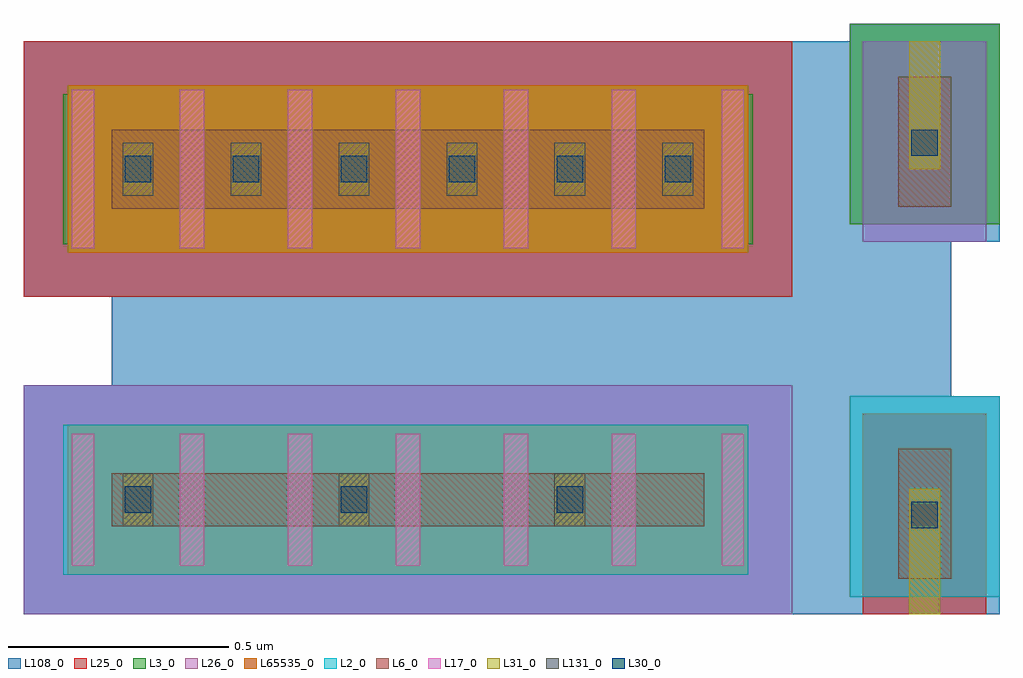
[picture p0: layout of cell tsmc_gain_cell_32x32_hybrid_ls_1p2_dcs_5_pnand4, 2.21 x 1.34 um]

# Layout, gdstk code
import gdstk
lib = gdstk.Library(unit=1e-6, precision=1e-09)
def R(c, l, rs):  # rectangles x0, y0, x1, y1
    for r in rs: c.add(gdstk.rectangle(r[:2], r[2:], *l))
def A(c, l, x, y, w, h, nx, ny, dx, dy):  # array of equal rectangles
    R(c, l, [(x+i*dx, y+j*dy, x+i*dx+w, y+j*dy+h) for i in range(nx) for j in range(ny)])
L2_0 = (2, 0)
L3_0 = (3, 0)
L6_0 = (6, 0)
L17_0 = (17, 0)
L25_0 = (25, 0)
L26_0 = (26, 0)
L30_0 = (30, 0)
L31_0 = (31, 0)
L108_0 = (108, 0)
L131_0 = (131, 0)
L65535_0 = (65535, 0)

tsmc_gain_cell_32x32_hyb = lib.new_cell('tsmc_gain_cell_32x32_hybrid_ls_1p2_dcs_5_contact_15')
R(tsmc_gain_cell_32x32_hyb, L3_0, [(-0.11,-0.11,0.23,0.23)])
R(tsmc_gain_cell_32x32_hyb, L6_0, [(0,0,0.12,0.12)])
R(tsmc_gain_cell_32x32_hyb, L25_0, [(-0.08,-0.08,0.2,0.2)])
R(tsmc_gain_cell_32x32_hyb, L30_0, [(0.03,0.03,0.09,0.09)])
R(tsmc_gain_cell_32x32_hyb, L31_0, [(0.025,0,0.095,0.12)])
R(tsmc_gain_cell_32x32_hyb, L108_0, [(-0.11,-0.11,0.23,0.23)])

c_tsmc_gain_cell_32x32_hyb = lib.new_cell('tsmc_gain_cell_32x32_hybrid_ls_1p2_dcs_5_pmos_m2_w0_180_sm1_dm1')
R(c_tsmc_gain_cell_32x32_hyb, L3_0, [(-0.1,-0.1,0.71,0.28)])
R(c_tsmc_gain_cell_32x32_hyb, L6_0, [(0,0,0.61,0.18)])
R(c_tsmc_gain_cell_32x32_hyb, L17_0, [(-0.09,-0.09,-0.04,0.27), (0.16,-0.09,0.21,0.27), (0.16,-0.09,0.21,0.27), (0.16,-0.09,0.21,-0.04), (0.4,-0.09,0.45,0.27), (0.4,-0.09,0.45,0.27), (0.4,-0.09,0.45,-0.04), (0.65,-0.09,0.7,0.27)])
R(c_tsmc_gain_cell_32x32_hyb, L25_0, [(-0.2,-0.2,0.81,0.38)])
A(c_tsmc_gain_cell_32x32_hyb, L31_0, 0.025, 0.03, 0.07, 0.12, 3, 1, 0.245, 0)
R(c_tsmc_gain_cell_32x32_hyb, L108_0, [(-0.2,-0.2,0.81,0.38)])
A(c_tsmc_gain_cell_32x32_hyb, L131_0, 0.025, 0.03, 0.07, 0.07, 3, 1, 0.245, 0)
A(c_tsmc_gain_cell_32x32_hyb, L131_0, 0.025, 0.03, 0.07, 0.12, 3, 1, 0.245, 0)
R(c_tsmc_gain_cell_32x32_hyb, L65535_0, [(-0.1,-0.1,0.71,0.28)])
c_tsmc_gain_cell_32x32_hyb.add(gdstk.Reference(tsmc_gain_cell_32x32_hyb, (0,0.03)))
c_tsmc_gain_cell_32x32_hyb.add(gdstk.Reference(tsmc_gain_cell_32x32_hyb, (0.245,0.03)))
c_tsmc_gain_cell_32x32_hyb.add(gdstk.Reference(tsmc_gain_cell_32x32_hyb, (0.49,0.03)))
c_tsmc_gain_cell_32x32_hyb.add(gdstk.Label('G', (0.185,-0.065), layer=17, texttype=0))
c_tsmc_gain_cell_32x32_hyb.add(gdstk.Label('G', (0.425,-0.065), layer=17, texttype=0))
c_tsmc_gain_cell_32x32_hyb.add(gdstk.Label('S', (0.06,0.065), layer=131, texttype=0))
c_tsmc_gain_cell_32x32_hyb.add(gdstk.Label('D', (0.305,0.065), layer=131, texttype=0))
c_tsmc_gain_cell_32x32_hyb.add(gdstk.Label('S', (0.55,0.065), layer=131, texttype=0))
c_tsmc_gain_cell_32x32_hyb.add(gdstk.Label('G', (0.185,0.09), layer=17, texttype=0))
c_tsmc_gain_cell_32x32_hyb.add(gdstk.Label('G', (0.425,0.09), layer=17, texttype=0))
c_tsmc_gain_cell_32x32_hyb.add(gdstk.Label('S', (0.06,0.09), layer=31, texttype=0))
c_tsmc_gain_cell_32x32_hyb.add(gdstk.Label('S', (0.55,0.09), layer=31, texttype=0))
c_tsmc_gain_cell_32x32_hyb.add(gdstk.Label('D', (0.305,0.09), layer=31, texttype=0))

c_tsmc_gain_cell_32x32_hyb_ = lib.new_cell('tsmc_gain_cell_32x32_hybrid_ls_1p2_dcs_5_contact_14')
R(c_tsmc_gain_cell_32x32_hyb_, L2_0, [(-0.11,-0.11,0.23,0.23)])
R(c_tsmc_gain_cell_32x32_hyb_, L6_0, [(0,0,0.12,0.12)])
R(c_tsmc_gain_cell_32x32_hyb_, L26_0, [(-0.08,-0.08,0.2,0.2)])
R(c_tsmc_gain_cell_32x32_hyb_, L30_0, [(0.03,0.03,0.09,0.09)])
R(c_tsmc_gain_cell_32x32_hyb_, L31_0, [(0.025,0,0.095,0.12)])
R(c_tsmc_gain_cell_32x32_hyb_, L108_0, [(-0.11,-0.11,0.23,0.23)])

c_tsmc_gain_cell_32x32_hyb__ = lib.new_cell('tsmc_gain_cell_32x32_hybrid_ls_1p2_dcs_5_nmos_m2_w0_120_sm1_dactive')
R(c_tsmc_gain_cell_32x32_hyb__, L2_0, [(-0.1,-0.11,0.71,0.23)])
R(c_tsmc_gain_cell_32x32_hyb__, L6_0, [(0,0,0.61,0.12), (0.275,0.03,0.335,0.09), (0.275,0.03,0.335,0.09)])
R(c_tsmc_gain_cell_32x32_hyb__, L17_0, [(-0.09,-0.09,-0.04,0.21), (0.16,-0.09,0.21,0.21), (0.16,-0.09,0.21,0.21), (0.16,-0.09,0.21,-0.04), (0.4,-0.09,0.45,0.21), (0.4,-0.09,0.45,0.21), (0.4,-0.09,0.45,-0.04), (0.65,-0.09,0.7,0.21)])
R(c_tsmc_gain_cell_32x32_hyb__, L26_0, [(-0.2,-0.2,0.81,0.32)])
R(c_tsmc_gain_cell_32x32_hyb__, L31_0, [(0.025,0,0.095,0.12), (0.515,0,0.585,0.12)])
R(c_tsmc_gain_cell_32x32_hyb__, L108_0, [(-0.2,-0.2,0.81,0.32)])
R(c_tsmc_gain_cell_32x32_hyb__, L131_0, [(0.025,0,0.095,0.07), (0.025,0,0.095,0.12), (0.515,0,0.585,0.07), (0.515,0,0.585,0.12)])
R(c_tsmc_gain_cell_32x32_hyb__, L65535_0, [(-0.1,-0.11,0.71,0.23)])
c_tsmc_gain_cell_32x32_hyb__.add(gdstk.Reference(c_tsmc_gain_cell_32x32_hyb_, (0,0)))
c_tsmc_gain_cell_32x32_hyb__.add(gdstk.Reference(c_tsmc_gain_cell_32x32_hyb_, (0.49,0)))
c_tsmc_gain_cell_32x32_hyb__.add(gdstk.Label('G', (0.185,-0.065), layer=17, texttype=0))
c_tsmc_gain_cell_32x32_hyb__.add(gdstk.Label('G', (0.425,-0.065), layer=17, texttype=0))
c_tsmc_gain_cell_32x32_hyb__.add(gdstk.Label('S', (0.06,0.035), layer=131, texttype=0))
c_tsmc_gain_cell_32x32_hyb__.add(gdstk.Label('D', (0.305,0.06), layer=6, texttype=0))
c_tsmc_gain_cell_32x32_hyb__.add(gdstk.Label('S', (0.55,0.035), layer=131, texttype=0))
c_tsmc_gain_cell_32x32_hyb__.add(gdstk.Label('G', (0.185,0.06), layer=17, texttype=0))
c_tsmc_gain_cell_32x32_hyb__.add(gdstk.Label('G', (0.425,0.06), layer=17, texttype=0))
c_tsmc_gain_cell_32x32_hyb__.add(gdstk.Label('S', (0.06,0.06), layer=31, texttype=0))
c_tsmc_gain_cell_32x32_hyb__.add(gdstk.Label('S', (0.55,0.06), layer=31, texttype=0))
c_tsmc_gain_cell_32x32_hyb__.add(gdstk.Label('D', (0.305,0.06), layer=6, texttype=0))

c_tsmc_gain_cell_32x32_hyb___ = lib.new_cell('tsmc_gain_cell_32x32_hybrid_ls_1p2_dcs_5_nmos_m2_w0_120_sactive_dactive')
R(c_tsmc_gain_cell_32x32_hyb___, L2_0, [(-0.1,-0.11,0.71,0.23)])
R(c_tsmc_gain_cell_32x32_hyb___, L6_0, [(0,0,0.61,0.12), (0.03,0.03,0.09,0.09), (0.03,0.03,0.09,0.09), (0.275,0.03,0.335,0.09), (0.275,0.03,0.335,0.09), (0.52,0.03,0.58,0.09), (0.52,0.03,0.58,0.09)])
R(c_tsmc_gain_cell_32x32_hyb___, L17_0, [(-0.09,-0.09,-0.04,0.21), (0.16,-0.09,0.21,0.21), (0.16,-0.09,0.21,0.21), (0.16,-0.09,0.21,-0.04), (0.4,-0.09,0.45,0.21), (0.4,-0.09,0.45,0.21), (0.4,-0.09,0.45,-0.04), (0.65,-0.09,0.7,0.21)])
R(c_tsmc_gain_cell_32x32_hyb___, L26_0, [(-0.2,-0.2,0.81,0.32)])
R(c_tsmc_gain_cell_32x32_hyb___, L108_0, [(-0.2,-0.2,0.81,0.32)])
R(c_tsmc_gain_cell_32x32_hyb___, L65535_0, [(-0.1,-0.11,0.71,0.23)])
c_tsmc_gain_cell_32x32_hyb___.add(gdstk.Label('G', (0.185,-0.065), layer=17, texttype=0))
c_tsmc_gain_cell_32x32_hyb___.add(gdstk.Label('G', (0.425,-0.065), layer=17, texttype=0))
c_tsmc_gain_cell_32x32_hyb___.add(gdstk.Label('S', (0.06,0.06), layer=6, texttype=0))
c_tsmc_gain_cell_32x32_hyb___.add(gdstk.Label('D', (0.305,0.06), layer=6, texttype=0))
c_tsmc_gain_cell_32x32_hyb___.add(gdstk.Label('S', (0.55,0.06), layer=6, texttype=0))
c_tsmc_gain_cell_32x32_hyb___.add(gdstk.Label('G', (0.185,0.06), layer=17, texttype=0))
c_tsmc_gain_cell_32x32_hyb___.add(gdstk.Label('G', (0.425,0.06), layer=17, texttype=0))
c_tsmc_gain_cell_32x32_hyb___.add(gdstk.Label('S', (0.55,0.06), layer=6, texttype=0))
c_tsmc_gain_cell_32x32_hyb___.add(gdstk.Label('S', (0.06,0.06), layer=6, texttype=0))
c_tsmc_gain_cell_32x32_hyb___.add(gdstk.Label('D', (0.305,0.06), layer=6, texttype=0))

c_tsmc_gain_cell_32x32_hyb____ = lib.new_cell('tsmc_gain_cell_32x32_hybrid_ls_1p2_dcs_5_nmos_m2_w0_120_sactive_dm1')
R(c_tsmc_gain_cell_32x32_hyb____, L2_0, [(-0.1,-0.11,0.71,0.23)])
R(c_tsmc_gain_cell_32x32_hyb____, L6_0, [(0,0,0.61,0.12), (0.03,0.03,0.09,0.09), (0.03,0.03,0.09,0.09), (0.52,0.03,0.58,0.09), (0.52,0.03,0.58,0.09)])
R(c_tsmc_gain_cell_32x32_hyb____, L17_0, [(-0.09,-0.09,-0.04,0.21), (0.16,-0.09,0.21,0.21), (0.16,-0.09,0.21,0.21), (0.16,-0.09,0.21,-0.04), (0.4,-0.09,0.45,0.21), (0.4,-0.09,0.45,0.21), (0.4,-0.09,0.45,-0.04), (0.65,-0.09,0.7,0.21)])
R(c_tsmc_gain_cell_32x32_hyb____, L26_0, [(-0.2,-0.2,0.81,0.32)])
R(c_tsmc_gain_cell_32x32_hyb____, L31_0, [(0.27,0,0.34,0.12)])
R(c_tsmc_gain_cell_32x32_hyb____, L108_0, [(-0.2,-0.2,0.81,0.32)])
R(c_tsmc_gain_cell_32x32_hyb____, L131_0, [(0.27,0,0.34,0.07), (0.27,0,0.34,0.12)])
R(c_tsmc_gain_cell_32x32_hyb____, L65535_0, [(-0.1,-0.11,0.71,0.23)])
c_tsmc_gain_cell_32x32_hyb____.add(gdstk.Reference(c_tsmc_gain_cell_32x32_hyb_, (0.245,0)))
c_tsmc_gain_cell_32x32_hyb____.add(gdstk.Label('G', (0.185,-0.065), layer=17, texttype=0))
c_tsmc_gain_cell_32x32_hyb____.add(gdstk.Label('G', (0.425,-0.065), layer=17, texttype=0))
c_tsmc_gain_cell_32x32_hyb____.add(gdstk.Label('S', (0.06,0.06), layer=6, texttype=0))
c_tsmc_gain_cell_32x32_hyb____.add(gdstk.Label('D', (0.305,0.035), layer=131, texttype=0))
c_tsmc_gain_cell_32x32_hyb____.add(gdstk.Label('S', (0.55,0.06), layer=6, texttype=0))
c_tsmc_gain_cell_32x32_hyb____.add(gdstk.Label('G', (0.185,0.06), layer=17, texttype=0))
c_tsmc_gain_cell_32x32_hyb____.add(gdstk.Label('G', (0.425,0.06), layer=17, texttype=0))
c_tsmc_gain_cell_32x32_hyb____.add(gdstk.Label('S', (0.55,0.06), layer=6, texttype=0))
c_tsmc_gain_cell_32x32_hyb____.add(gdstk.Label('S', (0.06,0.06), layer=6, texttype=0))
c_tsmc_gain_cell_32x32_hyb____.add(gdstk.Label('D', (0.305,0.06), layer=31, texttype=0))

c_tsmc_gain_cell_32x32_hyb_____ = lib.new_cell('tsmc_gain_cell_32x32_hybrid_ls_1p2_dcs_5_contact_16')
R(c_tsmc_gain_cell_32x32_hyb_____, L3_0, [(-0.11,-0.125,0.23,0.33)])
R(c_tsmc_gain_cell_32x32_hyb_____, L6_0, [(0,-0.085,0.12,0.21)])
R(c_tsmc_gain_cell_32x32_hyb_____, L26_0, [(-0.08,-0.165,0.2,0.29)])
R(c_tsmc_gain_cell_32x32_hyb_____, L30_0, [(0.03,0.03,0.09,0.09)])
R(c_tsmc_gain_cell_32x32_hyb_____, L31_0, [(0.025,0,0.095,0.12)])
R(c_tsmc_gain_cell_32x32_hyb_____, L108_0, [(-0.11,-0.165,0.23,0.33)])

c_tsmc_gain_cell_32x32_hyb______ = lib.new_cell('tsmc_gain_cell_32x32_hybrid_ls_1p2_dcs_5_contact_18')
R(c_tsmc_gain_cell_32x32_hyb______, L2_0, [(-0.11,-0.125,0.23,0.33)])
R(c_tsmc_gain_cell_32x32_hyb______, L6_0, [(0,-0.085,0.12,0.21)])
R(c_tsmc_gain_cell_32x32_hyb______, L25_0, [(-0.08,-0.165,0.2,0.29)])
R(c_tsmc_gain_cell_32x32_hyb______, L30_0, [(0.03,0.03,0.09,0.09)])
R(c_tsmc_gain_cell_32x32_hyb______, L31_0, [(0.025,0,0.095,0.12)])
R(c_tsmc_gain_cell_32x32_hyb______, L108_0, [(-0.11,-0.165,0.23,0.33)])

c_tsmc_gain_cell_32x32_hyb_______ = lib.new_cell('tsmc_gain_cell_32x32_hybrid_ls_1p2_dcs_5_pnand4')
R(c_tsmc_gain_cell_32x32_hyb_______, L31_0, [(1.91,0,1.98,0.225), (1.91,1.07,1.98,1.3)])
R(c_tsmc_gain_cell_32x32_hyb_______, L108_0, [(0.1,0,2.005,1.3)])
c_tsmc_gain_cell_32x32_hyb_______.add(gdstk.Reference(c_tsmc_gain_cell_32x32_hyb, (0.1,0.92)))
c_tsmc_gain_cell_32x32_hyb_______.add(gdstk.Reference(c_tsmc_gain_cell_32x32_hyb, (0.345,0.92)))
c_tsmc_gain_cell_32x32_hyb_______.add(gdstk.Reference(c_tsmc_gain_cell_32x32_hyb, (0.59,0.92)))
c_tsmc_gain_cell_32x32_hyb_______.add(gdstk.Reference(c_tsmc_gain_cell_32x32_hyb, (0.835,0.92)))
c_tsmc_gain_cell_32x32_hyb_______.add(gdstk.Reference(c_tsmc_gain_cell_32x32_hyb__, (0.1,0.2)))
c_tsmc_gain_cell_32x32_hyb_______.add(gdstk.Reference(c_tsmc_gain_cell_32x32_hyb___, (0.345,0.2)))
c_tsmc_gain_cell_32x32_hyb_______.add(gdstk.Reference(c_tsmc_gain_cell_32x32_hyb___, (0.59,0.2)))
c_tsmc_gain_cell_32x32_hyb_______.add(gdstk.Reference(c_tsmc_gain_cell_32x32_hyb____, (0.835,0.2)))
c_tsmc_gain_cell_32x32_hyb_______.add(gdstk.Reference(c_tsmc_gain_cell_32x32_hyb_____, (1.885,1.01)))
c_tsmc_gain_cell_32x32_hyb_______.add(gdstk.Reference(c_tsmc_gain_cell_32x32_hyb______, (1.885,0.165)))

lib.write_gds('tsmc_gain_cell_32x32_hybrid_ls_1p2_dcs_5_pnand4.gds')
